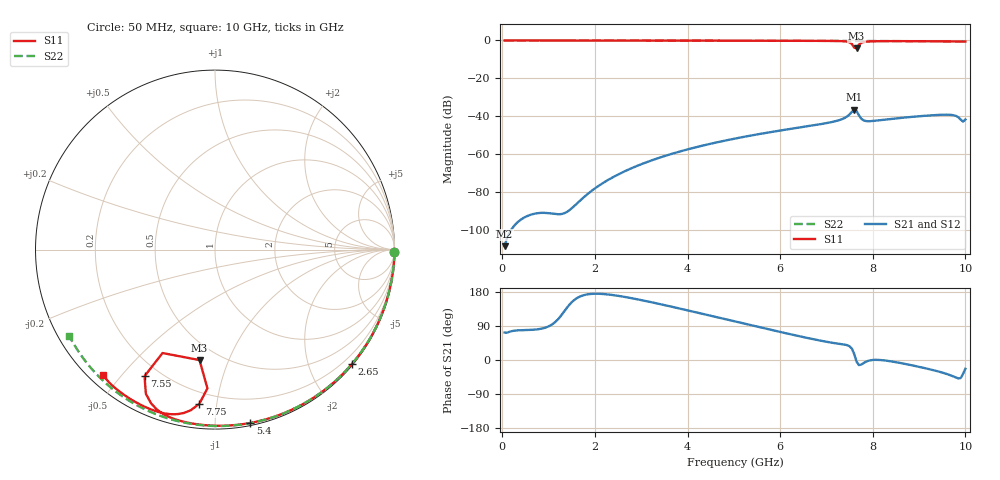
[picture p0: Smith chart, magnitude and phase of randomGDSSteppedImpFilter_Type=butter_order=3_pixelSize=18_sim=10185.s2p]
! freq	dB(S11)	phase(S11)	dB(S12)	phase(S12)
!  dB(S21)	phase(S21)	dB(S22)	phase(S22)
!S-par simulation data
#  GHz  S  DB  R 50
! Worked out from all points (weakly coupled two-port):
!   200 points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, 50 MHz to 10 GHz, reference 50 ohm
!   highest |S21| = -36.53 dB at 7.6 GHz (marker M1); lowest = -108.7 dB at 50 MHz (marker M2)
!   lowest |S11| = -4.1 dB at 7.65 GHz (marker M3), VSWR 4.28, Z = 19.7 - j39.5 ohm
!   |S11| at or under -10 dB: nowhere
!   |S22| runs from -0.5 to 0.0 dB; largest |S21 - S12| = 0
!   S11 on the Smith chart (normalised r, x): 50 MHz: open; 2.65 GHz: 0.03, -2.75; 5.4 GHz: 0.02, -1.23; 7.55 GHz: 0.14, -0.58; 7.75 GHz: 0.13, -0.89; 10 GHz: 0.04, -0.45
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0.05  -0.00 -0.8  -108.70 72.4  -108.70 72.4  -0.00 -0.9
1.75  -0.03 -26.7  -83.06 170.7  -83.06 170.7  -0.04 -29.6
1.9  -0.04 -28.9  -80.02 174.2  -80.02 174.2  -0.04 -32.1
2.25  -0.04 -34.1  -74.20 173.4  -74.20 173.4  -0.05 -37.8
2.65  -0.05 -40.0  -69.05 166.3  -69.05 166.3  -0.06 -44.3
3.4  -0.07 -50.8  -61.90 147.7  -61.90 147.7  -0.07 -56.2
5.05  -0.11 -73.7  -51.72 101.0  -51.72 101.0  -0.13 -81.2
5.4  -0.13 -78.4  -50.10 91.0  -50.10 91.0  -0.14 -86.3
6.7  -0.19 -96.1  -44.91 55.3  -44.91 55.3  -0.20 -104.7
7.35  -0.39 -108.4  -41.44 41.4  -41.44 41.4  -0.25 -113.6
7.45  -0.65 -112.6  -40.09 38.9  -40.09 38.9  -0.25 -114.9
7.55  -1.86 -119.1  -37.70 29.8  -37.70 29.8  -0.26 -116.3
7.6  -3.79 -116.9  -36.53 15.4  -36.53 15.4  -0.26 -116.9
7.65  -4.13 -98.0  -37.24 -4.3  -37.24 -4.3  -0.27 -117.6
7.7  -2.22 -93.1  -39.52 -13.4  -39.52 -13.4  -0.27 -118.3
7.75  -1.27 -95.8  -41.29 -12.2  -41.29 -12.2  -0.28 -119.0
7.9  -0.55 -102.6  -42.67 -2.3  -42.67 -2.3  -0.29 -121.0
8.35  -0.36 -111.6  -41.58 -2.7  -41.58 -2.7  -0.33 -127.0
9.6  -0.47 -127.9  -39.22 -36.9  -39.22 -36.9  -0.46 -143.8
9.8  -0.53 -130.4  -39.91 -46.6  -39.91 -46.6  -0.48 -146.5
9.95  -0.62 -131.6  -42.91 -36.5  -42.91 -36.5  -0.49 -148.5
10  -0.59 -131.8  -41.76 -23.1  -41.76 -23.1  -0.49 -149.2
